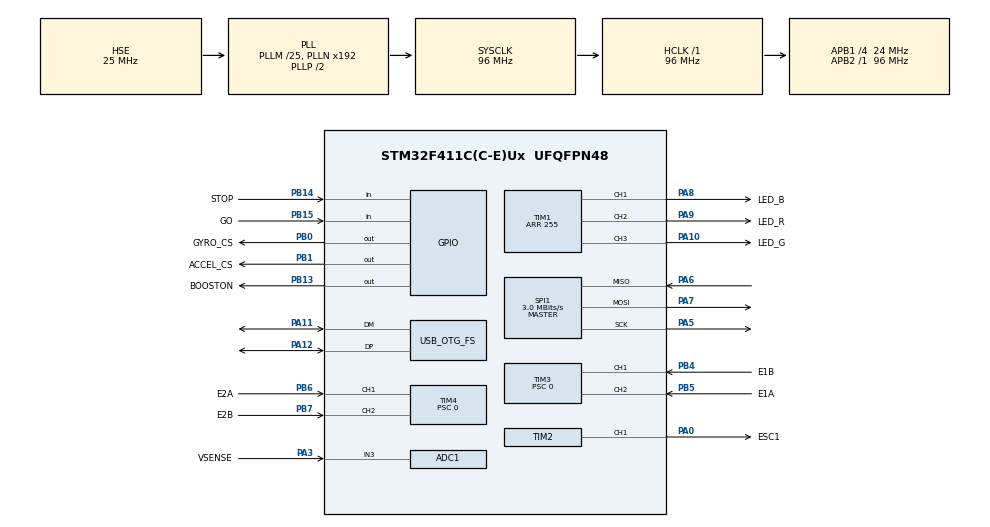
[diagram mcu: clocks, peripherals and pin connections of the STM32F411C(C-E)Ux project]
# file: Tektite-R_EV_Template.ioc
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ADC1.Channel-0\#ChannelRegularConversion=ADC_CHANNEL_3
ADC1.NbrOfConversionFlag=1
ADC1.Rank-0\#ChannelRegularConversion=1
ADC1.SamplingTime-0\#ChannelRegularConversion=ADC_SAMPLETIME_3CYCLES
ADC1.master=1
Mcu.Family=STM32F4
Mcu.Name=STM32F411C(C-E)Ux
Mcu.Package=UFQFPN48
NVIC.OTG_FS_IRQn=true\:0\:0\:false\:false\:true\:false\:true\:true
NVIC.PriorityGroup=NVIC_PRIORITYGROUP_4
NimaLTD.I-CUBE-SPIF.2.3.1.DriverJjSPIF=true
NimaLTD.I-CUBE-SPIF.2.3.1.SPIF_DEBUG=SPIF_DEBUG_DISABLE
PA0-WKUP.GPIO_Label=ESC1
PA0-WKUP.Signal=S_TIM2_CH1_ETR
PA10.GPIO_Label=LED_G
PA10.Signal=S_TIM1_CH3
PA11.Mode=Device_Only
PA11.Signal=USB_OTG_FS_DM
PA12.Mode=Device_Only
PA12.Signal=USB_OTG_FS_DP
PA13.Mode=Serial_Wire
PA13.Signal=SYS_JTMS-SWDIO
PA14.Mode=Serial_Wire
PA14.Signal=SYS_JTCK-SWCLK
PA3.GPIO_Label=VSENSE
PA3.Signal=ADCx_IN3
PA5.Mode=Full_Duplex_Master
PA5.Signal=SPI1_SCK
PA6.Mode=Full_Duplex_Master
PA6.Signal=SPI1_MISO
PA7.Mode=Full_Duplex_Master
PA7.Signal=SPI1_MOSI
PA8.GPIO_Label=LED_B
PA8.Signal=S_TIM1_CH1
PA9.GPIO_Label=LED_R
PA9.Signal=S_TIM1_CH2
PB0.GPIO_Label=GYRO_CS
PB0.GPIO_Speed=GPIO_SPEED_FREQ_VERY_HIGH
PB0.PinState=GPIO_PIN_SET
PB0.Signal=GPIO_Output
PB1.GPIO_Label=ACCEL_CS
PB1.GPIO_Speed=GPIO_SPEED_FREQ_VERY_HIGH
PB1.PinState=GPIO_PIN_SET
PB1.Signal=GPIO_Output
PB13.GPIO_Label=BOOSTON
PB13.GPIO_PuPd=GPIO_PULLDOWN
PB13.Signal=GPIO_Output
PB14.GPIO_Label=STOP
PB14.GPIO_PuPd=GPIO_PULLUP
PB14.Signal=GPIO_Input
PB15.GPIO_Label=GO
PB15.GPIO_PuPd=GPIO_PULLUP
PB15.Signal=GPIO_Input
PB4.GPIO_Label=E1B
PB4.Signal=S_TIM3_CH1
PB5.GPIO_Label=E1A
PB5.Signal=S_TIM3_CH2
PB6.GPIO_Label=E2A
PB6.Signal=S_TIM4_CH1
PB7.GPIO_Label=E2B
PB7.Signal=S_TIM4_CH2
PH0\ -\ OSC_IN.Mode=HSE-External-Oscillator
PH0\ -\ OSC_IN.Signal=RCC_OSC_IN
PH1\ -\ OSC_OUT.Mode=HSE-External-Oscillator
PH1\ -\ OSC_OUT.Signal=RCC_OSC_OUT
ProjectManager.HeapSize=0x200
ProjectManager.StackSize=0x400
ProjectManager.TargetToolchain=STM32CubeIDE
RCC.48MHZClocksFreq_Value=48000000
RCC.AHBFreq_Value=96000000
RCC.APB1CLKDivider=RCC_HCLK_DIV4
RCC.APB1Freq_Value=24000000
RCC.APB1TimFreq_Value=48000000
RCC.APB2Freq_Value=96000000
RCC.APB2TimFreq_Value=96000000
RCC.CortexFreq_Value=96000000
RCC.HCLKFreq_Value=96000000
RCC.HSE_VALUE=25000000
RCC.HSI_VALUE=16000000
RCC.LSE_VALUE=32768
RCC.PLLM=25
RCC.SYSCLKFreq_VALUE=96000000
RCC.SYSCLKSource=RCC_SYSCLKSOURCE_PLLCLK
RCC.VCOOutputFreq_Value=192000000
SH.ADCx_IN3.0=ADC1_IN3,IN3
SH.S_TIM1_CH1.0=TIM1_CH1,PWM Generation1 CH1
SH.S_TIM1_CH2.0=TIM1_CH2,PWM Generation2 CH2
SH.S_TIM1_CH3.0=TIM1_CH3,PWM Generation3 CH3
SH.S_TIM2_CH1_ETR.0=TIM2_CH1,PWM Generation1 CH1
SH.S_TIM3_CH1.0=TIM3_CH1,Encoder_Interface
SH.S_TIM3_CH2.0=TIM3_CH2,Encoder_Interface
SH.S_TIM4_CH1.0=TIM4_CH1,Encoder_Interface
SH.S_TIM4_CH2.0=TIM4_CH2,Encoder_Interface
SPI1.BaudRatePrescaler=SPI_BAUDRATEPRESCALER_32
SPI1.CalculateBaudRate=3.0 MBits/s
SPI1.DataSize=SPI_DATASIZE_8BIT
SPI1.Direction=SPI_DIRECTION_2LINES
SPI1.Mode=SPI_MODE_MASTER
SPI1.VirtualType=VM_MASTER
TIM1.AutoReloadPreload=TIM_AUTORELOAD_PRELOAD_ENABLE
TIM1.Channel-PWM\ Generation1\ CH1=TIM_CHANNEL_1
TIM1.Channel-PWM\ Generation2\ CH2=TIM_CHANNEL_2
TIM1.Channel-PWM\ Generation3\ CH3=TIM_CHANNEL_3
TIM1.Period=255
TIM2.Channel-PWM\ Generation1\ CH1=TIM_CHANNEL_1
TIM2.Period=1000
TIM2.Prescaler=960
TIM3.AutoReloadPreload=TIM_AUTORELOAD_PRELOAD_DISABLE
TIM3.CounterMode=TIM_COUNTERMODE_UP
TIM3.EncoderMode=TIM_ENCODERMODE_TI2
TIM3.IC1Filter=15
TIM3.IC2Filter=15
TIM3.Prescaler=0
TIM3.TIM_MasterOutputTrigger=TIM_TRGO_RESET
TIM4.AutoReloadPreload=TIM_AUTORELOAD_PRELOAD_DISABLE
TIM4.EncoderMode=TIM_ENCODERMODE_TI2
TIM4.IC1Filter=15
TIM4.IC2Filter=15
TIM4.Prescaler=0
USB_DEVICE.CLASS_NAME_FS=CDC
USB_DEVICE.VirtualMode=Cdc
USB_DEVICE.VirtualModeFS=Cdc_FS
USB_OTG_FS.VirtualMode=Device_Only
VP_NimaLTD.I-CUBE-SPIF_VS_DriverJjSPIF_1.0.0_2.3.1.Mode=DriverJjSPIF
VP_TIM1_VS_ClockSourceINT.Mode=Internal
VP_TIM2_VS_ClockSourceINT.Mode=Internal
VP_USB_DEVICE_VS_USB_DEVICE_CDC_FS.Mode=CDC_FS
board=custom

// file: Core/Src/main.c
/* USER CODE BEGIN Header */
/**
  ******************************************************************************
  * @file           : main.c
  * @brief          : Main program body
  ******************************************************************************
  * @attention
  *
  * Copyright (c) 2024 STMicroelectronics.
  * All rights reserved.
  *
  * This software is licensed under terms that can be found in the LICENSE file
  * in the root directory of this software component.
  * If no LICENSE file comes with this software, it is provided AS-IS.
  *
  ******************************************************************************
  */
/* USER CODE END Header */
#include "main.h"
#include "adc.h"
#include "spi.h"
#include "tim.h"
#include "usb_device.h"
#include "gpio.h"

/* USER CODE BEGIN Includes */
#include "peripheral.h"
#include "control.h"
/* USER CODE END Includes */

/* USER CODE BEGIN PTD */
extern uint8_t CDC_Transmit_FS(uint8_t* Buf, uint16_t Len);
/* USER CODE END PTD */

void SystemClock_Config(void);

int main(void)
{

  /* MCU Configuration--------------------------------------------------------*/

  /* Reset of all peripherals, Initializes the Flash interface and the Systick. */
  HAL_Init();

  /* Configure the system clock */
  SystemClock_Config();

  /* Initialize all configured peripherals */
  MX_GPIO_Init();
  MX_SPI1_Init();
  MX_USB_DEVICE_Init();
  MX_TIM2_Init();
  MX_TIM1_Init();
  MX_ADC1_Init();
  MX_TIM3_Init();
  MX_TIM4_Init();
  /* USER CODE BEGIN 2 */
  PeripheralInit();
  DataInit();

  LEDWrite(255, 255, 255);
  ESCWrite(0);
  HAL_Delay(500);

  float battVoltage = BattVoltage();
  /* USER CODE END 2 */

  /* Infinite loop */
  while (1)
  {

    /* USER CODE BEGIN 3 */
	LEDWrite(0, 0, 0);
	ESCWrite(1.5);
	HAL_GPIO_WritePin(BOOSTON_GPIO_Port, BOOSTON_Pin, GPIO_PIN_RESET);

	if (battVoltage < 5.1) { // USB Power
		LEDWrite(64, 64, 64);
		//printf("%f\n", BattVoltage());
	} else if (GOPressed()) {
	  Go();
	}

	if (battVoltage < 10.0) { // Time to charge!
		LEDWrite(128, 64, 0);
	}

	while (STOPPressed()) {
	  LEDWrite(255, 0, 0);
	}

	if (dataAvailable) {
	  DataAvailable();
	}
  }
  /* USER CODE END 3 */
}

void SystemClock_Config(void)
{
  RCC_OscInitTypeDef RCC_OscInitStruct = {0};
  RCC_ClkInitTypeDef RCC_ClkInitStruct = {0};

  /** Configure the main internal regulator output voltage
  */
  __HAL_RCC_PWR_CLK_ENABLE();
  __HAL_PWR_VOLTAGESCALING_CONFIG(PWR_REGULATOR_VOLTAGE_SCALE1);

  /** Initializes the RCC Oscillators according to the specified parameters
  * in the RCC_OscInitTypeDef structure.
  */
  RCC_OscInitStruct.OscillatorType = RCC_OSCILLATORTYPE_HSE;
  RCC_OscInitStruct.HSEState = RCC_HSE_ON;
  RCC_OscInitStruct.PLL.PLLState = RCC_PLL_ON;
  RCC_OscInitStruct.PLL.PLLSource = RCC_PLLSOURCE_HSE;
  RCC_OscInitStruct.PLL.PLLM = 25;
  RCC_OscInitStruct.PLL.PLLN = 192;
  RCC_OscInitStruct.PLL.PLLP = RCC_PLLP_DIV2;
  RCC_OscInitStruct.PLL.PLLQ = 4;
  if (HAL_RCC_OscConfig(&RCC_OscInitStruct) != HAL_OK)
  {
    Error_Handler();
  }

  /** Initializes the CPU, AHB and APB buses clocks
  */
  RCC_ClkInitStruct.ClockType = RCC_CLOCKTYPE_HCLK|RCC_CLOCKTYPE_SYSCLK
                              |RCC_CLOCKTYPE_PCLK1|RCC_CLOCKTYPE_PCLK2;
  RCC_ClkInitStruct.SYSCLKSource = RCC_SYSCLKSOURCE_PLLCLK;
  RCC_ClkInitStruct.AHBCLKDivider = RCC_SYSCLK_DIV1;
  RCC_ClkInitStruct.APB1CLKDivider = RCC_HCLK_DIV4;
  RCC_ClkInitStruct.APB2CLKDivider = RCC_HCLK_DIV1;

  if (HAL_RCC_ClockConfig(&RCC_ClkInitStruct, FLASH_LATENCY_3) != HAL_OK)
  {
    Error_Handler();
  }
}

/* USER CODE BEGIN 4 */
/**
  * @brief  Retargets the C library printf function to the USART.
  * @PAram  None
  * @retval None
  */
int _write(int file, char *ptr, int len) {
    CDC_Transmit_FS((uint8_t*) ptr, len); return len;
}
/* USER CODE END 4 */

void Error_Handler(void)
{
  __disable_irq();
  while (1)
  {
  }
}
